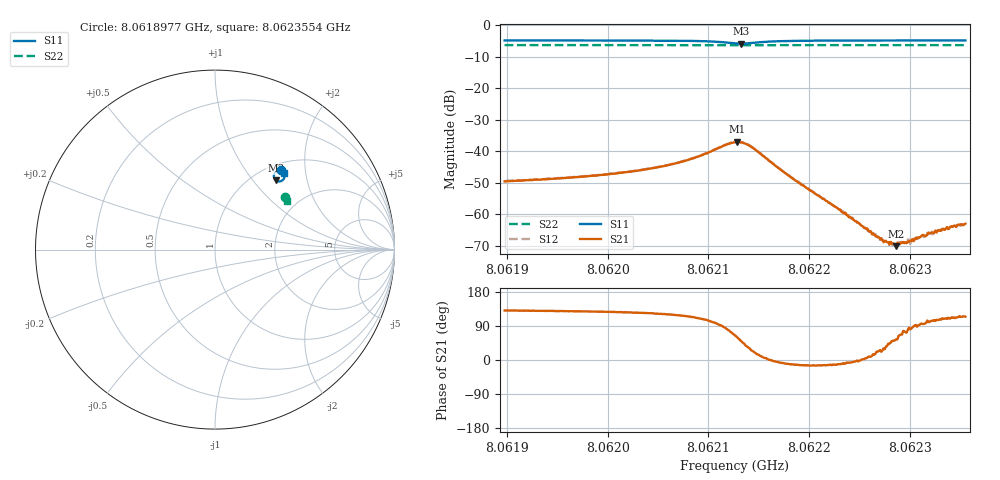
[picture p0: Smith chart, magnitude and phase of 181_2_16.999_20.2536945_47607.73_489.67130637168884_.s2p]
#  HZ  S  RI  R  50.00
! Rohde & Schwarz Vector Network Analyzer
! Rohde-Schwarz,ZNB20-2Port,1311601062101988,3.16
! Created: UTC 3/20/2024, 11:00:09 PM
! freq[Hz]  re:S11  im:S11  re:S21  im:S21  re:S12  im:S12  re:S22  im:S22
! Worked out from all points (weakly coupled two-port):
!   401 points, 8.0618977 GHz to 8.0623554 GHz, reference 50 ohm
!   highest |S21| = -36.95 dB at 8.0621288 GHz (marker M1); lowest = -70.1 dB at 8.0622868 GHz (marker M2)
!   lowest |S11| = -5.8 dB at 8.0621323 GHz (marker M3), VSWR 3.11, Z = 62.8 + j65.9 ohm
!   |S11| at or under -10 dB: nowhere
!   |S22| runs from -6.3 to -6.3 dB; largest |S21 - S12| = 0.0011
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8.06189767e9  0.3698 0.4414  -0.00217 0.00254  -0.00203 0.00268  0.3874 0.2936
8.06197435e9  0.3759 0.4354  -0.00247 0.00312  -0.00229 0.00331  0.3901 0.2896
8.06201555e9  0.3797 0.4309  -0.0027 0.00374  -0.00251 0.00393  0.3915 0.2878
8.06205103e9  0.3836 0.4248  -0.00301 0.00478  -0.00272 0.005  0.3926 0.2857
8.06208421e9  0.3872 0.4131  -0.00306 0.00706  -0.00268 0.00732  0.3938 0.2837
8.06212656e9  0.3525 0.3803  0.00597 0.0126  0.00683 0.0124  0.393 0.2809
8.06212885e9  0.3468 0.3818  0.00716 0.0123  0.00798 0.0118  0.3929 0.2809
8.06213228e9  0.3389 0.3864  0.00877 0.0107  0.00961 0.0103  0.3928 0.281
8.06214487e9  0.3281 0.4145  0.0104 0.00421  0.0107 0.0036  0.393 0.2818
8.0621792e9  0.3549 0.4393  0.00413 -0.000745  0.00414 -0.000981  0.3958 0.281
8.06220324e9  0.3649 0.4387  0.00223 -0.000577  0.00223 -0.000685  0.3969 0.2795
8.06223414e9  0.3722 0.4364  0.00105 -0.00015  0.00108 -0.000227  0.3981 0.2778
8.06226504e9  0.3768 0.434  0.000463 0.000115  0.000462 9.69e-05  0.3993 0.2763
8.06227305e9  0.3778 0.4333  0.000355 0.000168  0.000363 0.000158  0.3996 0.2758
8.06227992e9  0.3785 0.4328  0.000245 0.000228  0.000239 0.000227  0.3996 0.2755
8.06228678e9  0.3793 0.4322  0.000184 0.000254  0.000183 0.000255  0.4 0.2752
8.0623028e9  0.3808 0.4312  2.84e-05 0.000405  8.72e-05 0.000375  0.4007 0.2743
8.06231997e9  0.3825 0.4301  -9.28e-05 0.000493  -6.93e-05 0.000482  0.4011 0.2736
8.06233027e9  0.3835 0.4294  -0.000168 0.000535  -0.000138 0.000544  0.4014 0.2731
8.06233714e9  0.3839 0.429  -0.0002 0.000596  -0.000161 0.000581  0.4017 0.2725
8.06234286e9  0.3844 0.4286  -0.000229 0.00059  -0.000207 0.000618  0.402 0.2724
8.06235545e9  0.3855 0.4278  -0.000292 0.00065  -0.000237 0.000645  0.4023 0.2716
